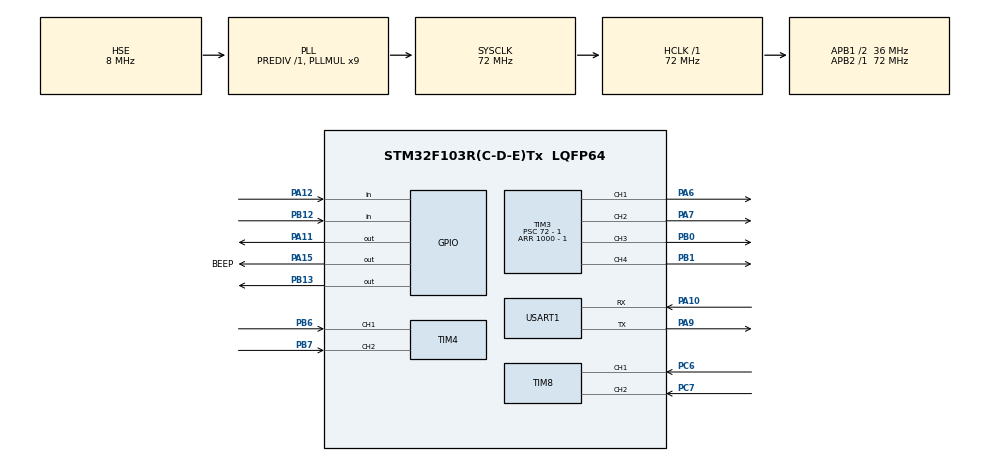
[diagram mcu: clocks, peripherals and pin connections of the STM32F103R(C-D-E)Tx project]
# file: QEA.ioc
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Mcu.Family=STM32F1
Mcu.Name=STM32F103R(C-D-E)Tx
Mcu.Package=LQFP64
NVIC.PriorityGroup=NVIC_PRIORITYGROUP_4
NVIC.TIM6_IRQn=true\:0\:0\:false\:false\:true\:true\:true\:true
PA10.Mode=Asynchronous
PA10.Signal=USART1_RX
PA11.PinState=GPIO_PIN_SET
PA11.Signal=GPIO_Output
PA12.GPIO_PuPd=GPIO_PULLDOWN
PA12.Signal=GPIO_Input
PA13.Mode=Serial_Wire
PA13.Signal=SYS_JTMS-SWDIO
PA14.Mode=Serial_Wire
PA14.Signal=SYS_JTCK-SWCLK
PA15.GPIO_Label=BEEP
PA15.Signal=GPIO_Output
PA6.Signal=S_TIM3_CH1
PA7.Signal=S_TIM3_CH2
PA9.Mode=Asynchronous
PA9.Signal=USART1_TX
PB0.Signal=S_TIM3_CH3
PB1.Signal=S_TIM3_CH4
PB12.GPIO_PuPd=GPIO_PULLDOWN
PB12.Signal=GPIO_Input
PB13.PinState=GPIO_PIN_SET
PB13.Signal=GPIO_Output
PB6.Signal=S_TIM4_CH1
PB7.Signal=S_TIM4_CH2
PC6.Signal=S_TIM8_CH1
PC7.Signal=S_TIM8_CH2
PD0-OSC_IN.Mode=HSE-External-Oscillator
PD0-OSC_IN.Signal=RCC_OSC_IN
PD1-OSC_OUT.Mode=HSE-External-Oscillator
PD1-OSC_OUT.Signal=RCC_OSC_OUT
ProjectManager.HeapSize=0x200
ProjectManager.StackSize=0x400
ProjectManager.TargetToolchain=MDK-ARM V5.32
RCC.AHBFreq_Value=72000000
RCC.APB1CLKDivider=RCC_HCLK_DIV2
RCC.APB1Freq_Value=36000000
RCC.APB1TimFreq_Value=72000000
RCC.APB2Freq_Value=72000000
RCC.APB2TimFreq_Value=72000000
RCC.HCLKFreq_Value=72000000
RCC.PLLMUL=RCC_PLL_MUL9
RCC.PLLSourceVirtual=RCC_PLLSOURCE_HSE
RCC.SYSCLKFreq_VALUE=72000000
RCC.SYSCLKSource=RCC_SYSCLKSOURCE_PLLCLK
RCC.USBFreq_Value=72000000
SH.S_TIM3_CH1.0=TIM3_CH1,PWM Generation1 CH1
SH.S_TIM3_CH2.0=TIM3_CH2,PWM Generation2 CH2
SH.S_TIM3_CH3.0=TIM3_CH3,PWM Generation3 CH3
SH.S_TIM3_CH4.0=TIM3_CH4,PWM Generation4 CH4
SH.S_TIM4_CH1.0=TIM4_CH1,Encoder_Interface
SH.S_TIM4_CH2.0=TIM4_CH2,Encoder_Interface
SH.S_TIM8_CH1.0=TIM8_CH1,Encoder_Interface
SH.S_TIM8_CH2.0=TIM8_CH2,Encoder_Interface
TIM3.Channel-PWM\ Generation1\ CH1=TIM_CHANNEL_1
TIM3.Channel-PWM\ Generation2\ CH2=TIM_CHANNEL_2
TIM3.Channel-PWM\ Generation3\ CH3=TIM_CHANNEL_3
TIM3.Channel-PWM\ Generation4\ CH4=TIM_CHANNEL_4
TIM3.Period=1000 - 1
TIM3.Prescaler=72 - 1
TIM4.EncoderMode=TIM_ENCODERMODE_TI12
TIM6.Period=1000 - 1
TIM6.Prescaler=72 - 1
TIM8.EncoderMode=TIM_ENCODERMODE_TI12
USART1.VirtualMode=VM_ASYNC
VP_TIM3_VS_ClockSourceINT.Mode=Internal
VP_TIM6_VS_ClockSourceINT.Mode=Enable_Timer
board=custom

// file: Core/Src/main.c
/* USER CODE BEGIN Header */
/**
  ******************************************************************************
  * @file           : main.c
  * @brief          : Main program body
  ******************************************************************************
  * @attention
  *
  * Copyright (c) 2023 STMicroelectronics.
  * All rights reserved.
  *
  * This software is licensed under terms that can be found in the LICENSE file
  * in the root directory of this software component.
  * If no LICENSE file comes with this software, it is provided AS-IS.
  *
  ******************************************************************************
  */
#include <string.h>
#include <stdio.h>
#include <math.h>
/* USER CODE END Header */
#include "main.h"
#include "tim.h"
#include "usart.h"
#include "gpio.h"

/* USER CODE BEGIN PD */

#define PI 3.141592653589793

/* USER CODE END PD */

void SystemClock_Config(void);

/* USER CODE BEGIN 0 */

/*
 * 默认机器人的前方相对坐标系x轴，左方为相对坐标系y�?
 * 启动时，默认前方为绝对坐标系x轴，左方为绝对坐标系y�?
 */

struct WheelPWM
{
    double speed; //当前速度
    double target; //目标速度
    double minPWM; //限制pwm输出范围
    double maxPWM;
    double kp;
    double ki;
    double kd;
    double error;
    double lastError;
    double errorI;
    double pwm; //pwm输出�?
    double pulse; //脉冲�?
}wheelPWM1, wheelPWM2;

struct RobotInfo
{
    double wheel1Speed; //左轮速度
    double wheel2Speed; //右轮速度
    double XPos; //绝对坐标
    double YPos;
    double radian; //方向, 逆时�?, 起点x�?
}robotInfo;

void ClearSpeed()
{
    robotInfo.wheel1Speed = 0;
    robotInfo.wheel2Speed = 0;
}

void MoveForward(double speed)
{
    robotInfo.wheel1Speed += speed * 1.14;
    robotInfo.wheel2Speed += -speed;
}

void MoveBackward(double speed)
{
    robotInfo.wheel1Speed += -speed;
    robotInfo.wheel2Speed += speed;
}

void SpinLeft(double speed)
{
    robotInfo.wheel1Speed += -speed;
    robotInfo.wheel2Speed += -speed;
}

void SpinRight(double speed)
{
    robotInfo.wheel1Speed += speed;
    robotInfo.wheel2Speed += speed;
}

void CommitSpeed()
{
    wheelPWM1.target = robotInfo.wheel1Speed;
    wheelPWM2.target = robotInfo.wheel2Speed;
}

void Stop()
{
    ClearSpeed();
    CommitSpeed();
}

//将距离转换成脉冲 100cm -> 11500
double DisConvertToPulse(double dis)
{
    return 115 * dis;
}
//将弧度转换成脉冲 pi/2 -> 1700
double RadianConvertToPulse(double radian)
{
    return 1055.253613024887954 * radian;
}

//向前移动，�?�度，距离（cm�?
void MoveForwardV2(double speed, double dis)
{
    double pulse = DisConvertToPulse(dis);
    wheelPWM1.pulse = 0;
    ClearSpeed();
    MoveForward(speed);
    CommitSpeed();
    while (fabs(wheelPWM1.pulse) < pulse) {}
    Stop();
}

//向后移动，�?�度，距离（cm�?
void MoveBackwardV2(double speed, double dis)
{
    double pulse = DisConvertToPulse(dis);
    wheelPWM1.pulse = 0;
    ClearSpeed();
    MoveBackward(speed);
    CommitSpeed();
    while (fabs(wheelPWM1.pulse) < pulse) {}
    Stop();
}

//向左自转，�?�度，角�?(rad)
void SpinLeftV2(double speed, double radian)
{
    double pulse = RadianConvertToPulse(radian);
    wheelPWM1.pulse = 0;
    ClearSpeed();
    SpinLeft(speed);
    CommitSpeed();
    while (fabs(wheelPWM1.pulse) < pulse) {}
    Stop();
}

//向右自转，�?�度，角�?(rad)
void SpinRightV2(double speed, double radian)
{
    double pulse = RadianConvertToPulse(radian);
    wheelPWM1.pulse = 0;
    ClearSpeed();
    SpinRight(speed);
    CommitSpeed();
    while (fabs(wheelPWM1.pulse) < pulse) {}
    Stop();
}

void MoveTo(double speed, double x, double y)
{
    double dx = x - robotInfo.XPos;
    double dy = y - robotInfo.YPos;
    double dis = sqrt(pow(dx, 2) + pow(dy, 2));
    double theta = atan(dy / dx);
    if (dx < 0 && dy > 0) theta += PI;
    if (dx < 0 && dy < 0) theta += PI;
    if (dx > 0 && dy < 0) theta += 2 * PI;
    double det = theta - robotInfo.radian;
    if (det > 0) {
        SpinLeftV2(speed, det);
    } else if (det < 0) {
        SpinRightV2(speed, -det);
    }
    MoveForwardV2(speed, dis);
    //Update Pos Info
    robotInfo.XPos = x;
    robotInfo.YPos = y;
    robotInfo.radian = theta;
}

void PID_Init()
{
    wheelPWM1.target = 0;
    wheelPWM1.minPWM = -1000;
    wheelPWM1.maxPWM = 1000;
    wheelPWM1.kp = 500;
    wheelPWM1.ki = 6;
    wheelPWM1.kd = 0;

    wheelPWM2.target = 0;
    wheelPWM2.minPWM = -1000;
    wheelPWM2.maxPWM = 1000;
    wheelPWM2.kp = 500;
    wheelPWM2.ki = 6;
    wheelPWM2.kd = 0;
}

void Do_PID(struct WheelPWM* wheelPWM)
{
    wheelPWM->lastError = wheelPWM->error;
    wheelPWM->error = wheelPWM->target - wheelPWM->speed;
    wheelPWM->errorI += wheelPWM->error;
    double pwm = wheelPWM->kp * wheelPWM->error + wheelPWM->ki * wheelPWM->errorI + wheelPWM->kd * (wheelPWM->error - wheelPWM->lastError);
    if (pwm > wheelPWM->maxPWM) pwm = wheelPWM->maxPWM;
    if (pwm < wheelPWM->minPWM) pwm = wheelPWM->minPWM;
    wheelPWM->pwm = pwm;
}

void PID_Tick()
{
    wheelPWM1.speed = (short) __HAL_TIM_GET_COUNTER(&htim4);
    __HAL_TIM_SET_COUNTER(&htim4, 0);
    wheelPWM1.pulse += wheelPWM1.speed;

    wheelPWM2.speed = (short) __HAL_TIM_GET_COUNTER(&htim8);
    __HAL_TIM_SET_COUNTER(&htim8, 0);
    wheelPWM2.pulse += wheelPWM2.speed;

    Do_PID(&wheelPWM1);
    if (wheelPWM1.pwm > 0) {
        __HAL_TIM_SET_COMPARE(&htim3, TIM_CHANNEL_1, wheelPWM1.pwm);
        __HAL_TIM_SET_COMPARE(&htim3, TIM_CHANNEL_2, 0);
    } else if (wheelPWM1.pwm < 0) {
        __HAL_TIM_SET_COMPARE(&htim3, TIM_CHANNEL_1, 0);
        __HAL_TIM_SET_COMPARE(&htim3, TIM_CHANNEL_2, -wheelPWM1.pwm);
    } else {
        __HAL_TIM_SET_COMPARE(&htim3, TIM_CHANNEL_1, 0);
        __HAL_TIM_SET_COMPARE(&htim3, TIM_CHANNEL_2, 0);
    }

    Do_PID(&wheelPWM2);
    if (wheelPWM2.pwm > 0) {
        __HAL_TIM_SET_COMPARE(&htim3, TIM_CHANNEL_3, wheelPWM2.pwm);
        __HAL_TIM_SET_COMPARE(&htim3, TIM_CHANNEL_4, 0);
    } else if (wheelPWM2.pwm < 0) {
        __HAL_TIM_SET_COMPARE(&htim3, TIM_CHANNEL_3, 0);
        __HAL_TIM_SET_COMPARE(&htim3, TIM_CHANNEL_4, -wheelPWM2.pwm);
    } else {
        __HAL_TIM_SET_COMPARE(&htim3, TIM_CHANNEL_3, 0);
        __HAL_TIM_SET_COMPARE(&htim3, TIM_CHANNEL_4, 0);
    }
}

void HAL_TIM_PeriodElapsedCallback(TIM_HandleTypeDef* htim)
{
    if (htim->Instance == TIM6) {
        PID_Tick();
    }
}

/*
 * 实际坐标�?
 * 8 8.5
 * 9.5 18
 * 8.5 27.5
 * 4 37
 *
 * -6 44.5
 * -20.5 49
 * -34 49
 * -45 44.5
 *
 * 修正坐标�?
 *
 *
 */

/* USER CODE END 0 */

int main(void)
{

  /* MCU Configuration--------------------------------------------------------*/

  /* Reset of all peripherals, Initializes the Flash interface and the Systick. */
  HAL_Init();

  /* Configure the system clock */
  SystemClock_Config();

  /* Initialize all configured peripherals */
  MX_GPIO_Init();
  MX_TIM3_Init();
  MX_TIM4_Init();
  MX_TIM8_Init();
  MX_USART1_UART_Init();
  MX_TIM6_Init();
  /* USER CODE BEGIN 2 */

    HAL_TIM_PWM_Start(&htim3, TIM_CHANNEL_1);
    HAL_TIM_PWM_Start(&htim3, TIM_CHANNEL_2);
    HAL_TIM_PWM_Start(&htim3, TIM_CHANNEL_3);
    HAL_TIM_PWM_Start(&htim3, TIM_CHANNEL_4);

    HAL_TIM_Encoder_Start(&htim4, TIM_CHANNEL_1 | TIM_CHANNEL_2);
    HAL_TIM_Encoder_Start(&htim8, TIM_CHANNEL_1 | TIM_CHANNEL_2);

    HAL_TIM_Base_Start_IT(&htim6);

    PID_Init();

    Stop();

    double points[] = {7.35478, 1.56377, 13.6229, 6.07313, 17.833, 13.0008, 19.2331, 21.5279, 17.3726, 30.6274, 12.1537, 39.1698, 3.84847, 46.0391, -6.9224, 50.2492, -19.2453, 51.0482, -32, 48,
                       -43.9667, 41.0364, -53.9452, 30.4721, -60.8729, 16.9837, -63.9308, 1.55155, -62.6274, -14.6274, -56.8514, -30.2492, -46.8884, -44.0236, -33.4, -54.7945, -17.3666, -61.6483,
                       -7.3666, -63.6483, };
    int pointsCnt = 20;

    //初始化机器人的位�?
    robotInfo.XPos = points[0];
    robotInfo.YPos = points[1];
    robotInfo.radian = 0;

    //修正位置
    for (int i = 1; i < pointsCnt; ++i) {
        points[i * 2] *= 0.7;
        points[i * 2 + 1] *= 0.7;
    }
    for (int i = 3; i < pointsCnt; ++i) {
        points[i * 2] *= 1.1;
        points[i * 2 + 1] *= 1.1;
    }
    for (int i = 5; i < pointsCnt; ++i) {
        points[i * 2] *= 1.1;
        points[i * 2 + 1] *= 1.1;
    }
    for (int i = 8; i < pointsCnt; ++i) {
        points[i * 2] *= 1.1;
        points[i * 2 + 1] *= 1.1;
    }
    for (int i = 13; i < pointsCnt; ++i) {
        points[i * 2] *= 1.05;
        points[i * 2 + 1] *= 1.05;
    }
    for (int i = 16; i < pointsCnt; ++i) {
        points[i * 2] *= 0.99;
        points[i * 2 + 1] *= 0.99;
    }

    for (int i = 1; i < pointsCnt; ++i) {
        MoveTo(1, points[i * 2], points[i * 2 + 1]);
        //HAL_GPIO_WritePin(BEEP_GPIO_Port, BEEP_Pin, GPIO_PIN_SET);
        HAL_Delay(20);
        //HAL_GPIO_WritePin(BEEP_GPIO_Port, BEEP_Pin, GPIO_PIN_RESET);
    }

    Stop();

    while (1) {}

  /* USER CODE END 2 */

  /* Infinite loop */
  while (1)
  {

  }
}

void SystemClock_Config(void)
{
  RCC_OscInitTypeDef RCC_OscInitStruct = {0};
  RCC_ClkInitTypeDef RCC_ClkInitStruct = {0};

  /** Initializes the RCC Oscillators according to the specified parameters
  * in the RCC_OscInitTypeDef structure.
  */
  RCC_OscInitStruct.OscillatorType = RCC_OSCILLATORTYPE_HSE;
  RCC_OscInitStruct.HSEState = RCC_HSE_ON;
  RCC_OscInitStruct.HSEPredivValue = RCC_HSE_PREDIV_DIV1;
  RCC_OscInitStruct.HSIState = RCC_HSI_ON;
  RCC_OscInitStruct.PLL.PLLState = RCC_PLL_ON;
  RCC_OscInitStruct.PLL.PLLSource = RCC_PLLSOURCE_HSE;
  RCC_OscInitStruct.PLL.PLLMUL = RCC_PLL_MUL9;
  if (HAL_RCC_OscConfig(&RCC_OscInitStruct) != HAL_OK)
  {
    Error_Handler();
  }

  /** Initializes the CPU, AHB and APB buses clocks
  */
  RCC_ClkInitStruct.ClockType = RCC_CLOCKTYPE_HCLK|RCC_CLOCKTYPE_SYSCLK
                              |RCC_CLOCKTYPE_PCLK1|RCC_CLOCKTYPE_PCLK2;
  RCC_ClkInitStruct.SYSCLKSource = RCC_SYSCLKSOURCE_PLLCLK;
  RCC_ClkInitStruct.AHBCLKDivider = RCC_SYSCLK_DIV1;
  RCC_ClkInitStruct.APB1CLKDivider = RCC_HCLK_DIV2;
  RCC_ClkInitStruct.APB2CLKDivider = RCC_HCLK_DIV1;

  if (HAL_RCC_ClockConfig(&RCC_ClkInitStruct, FLASH_LATENCY_2) != HAL_OK)
  {
    Error_Handler();
  }
}

void Error_Handler(void)
{
  __disable_irq();
  while (1)
  {
  }
}
